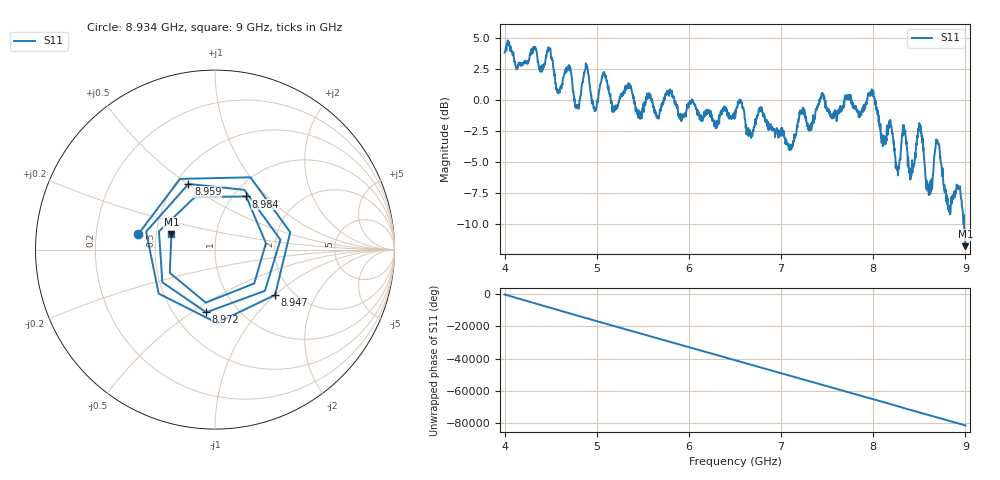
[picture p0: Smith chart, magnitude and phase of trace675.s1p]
! Created with skrf 1.8.0 (http://scikit-rf.org).
# Hz S RI R 50.0
!freq ReS11 ImS11
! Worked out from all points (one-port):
!   1601 points, 4 GHz to 9 GHz, reference 50 ohm
!   lowest |S11| = -11.8 dB at 9 GHz (marker M1), VSWR 1.69, Z = 30.1 + j5.48 ohm
!   |S11| at or under -10 dB: 8.980382 GHz to 8.981316 GHz (934.4 kHz wide, 0.0104 % of centre); 8.985792 GHz to end of sweep
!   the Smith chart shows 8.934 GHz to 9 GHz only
!   S11 on the Smith chart (normalised r, x): 8.934 GHz: 0.40, +0.08; 8.947 GHz: 1.63, -1.00; 8.959 GHz: 0.58, +0.50; 8.972 GHz: 0.72, -0.57; 8.984 GHz: 1.14, +0.77; 9 GHz: 0.60, +0.11
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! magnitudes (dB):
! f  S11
! 4 GHz  3.8
! 4.481 GHz  4.1
! 4.625 GHz  1.3
! 4.791 GHz  -0.4
! 4.888 GHz  2.8
! 5.25 GHz  0.2
! 5.875 GHz  -0.5
! 6.5 GHz  -1.0
! 7.125 GHz  -3.6
! 7.225 GHz  -0.9
! 7.75 GHz  0.4
! 7.988 GHz  0.8
! 8.106 GHz  -3.6
! 8.194 GHz  -2.2
! 8.259 GHz  -5.4
! 8.331 GHz  -2.8
! 8.375 GHz  -5.4
! 8.422 GHz  -4.9
! 8.506 GHz  -2.0
! 8.603 GHz  -7.7
! 8.697 GHz  -3.3
! 8.816 GHz  -8.5
! 8.934 GHz  -7.2
! 8.947 GHz  -7.5
! 8.959 GHz  -8.1
! 8.972 GHz  -9.0
! 8.984 GHz  -9.3
! 9 GHz  -11.8
